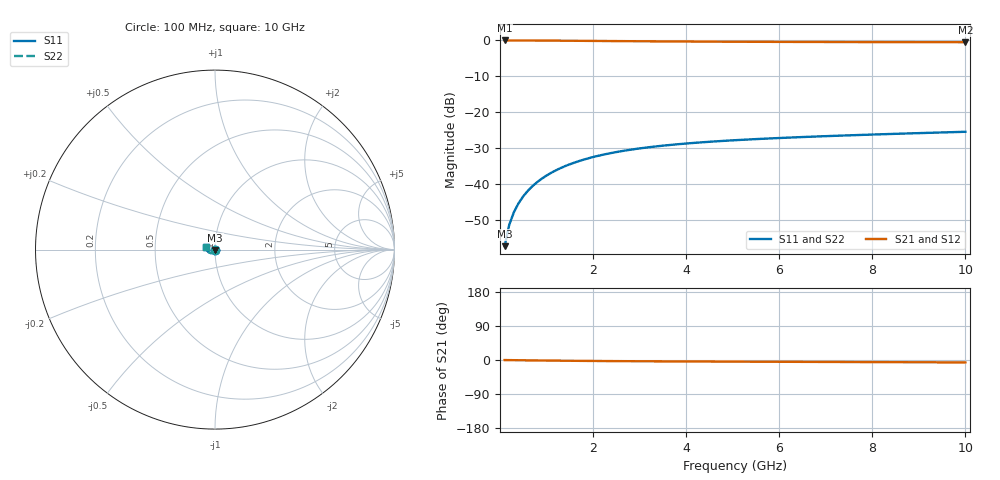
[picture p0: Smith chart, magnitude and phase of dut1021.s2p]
! Touchstone file exported from HFSS 2024.1.0
!  File:  C:/UserFiles/LocalFiles/RDL_TSV_Batchsim/temp_TSV1_1021_1780059798.aedt
!  Generated:  09:08:35 PM May 29, 2026
!  Design:  TSV1
!  Project:  temp_TSV1_1021_1780059798
!  Setup:  Setup1
!  Solution:  Sweep
! Variables:
!  dtsv = 9.68um
!  hbump = 3um
!  htsv = 99.26um
!  lrdl = 252.1521522um
!  p = 40
!  p1 = 58.73um
!  t = 500um
!  trdl = 3um
!  wrdl = 24.89489489um
# GHz S MA R 50.000000
! Terminal data exported
! Port[1] = TSV22_T1
! Port[2] = TSV22_T2
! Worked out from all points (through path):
!   100 points, 100 MHz to 10 GHz, reference 50 ohm
!   highest |S21| = 0.00 dB at 100 MHz (marker M1); lowest = -0.5 dB at 10 GHz (marker M2)
!   lowest |S11| = -57.3 dB at 100 MHz (marker M3), VSWR 1.00, Z = 50 - j0.137 ohm
!   |S11| at or under -10 dB: start of sweep to end of sweep
!   |S22| runs from -57.3 to -25.4 dB; largest |S21 - S12| = 1.1e-14
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0.1  0.001371 -84.7  0.9998 -0.2  0.9998 -0.2  0.001371 -84.7
! Gamma 0 0 0 0
! Port Impedance 50 0 50 0
0.2  0.002725 -90.3  0.9996 -0.3  0.9996 -0.3  0.002725 -90.3
0.3  0.00408 -93.6  0.9993 -0.5  0.9993 -0.5  0.00408 -93.6
0.4  0.005429 -96.2  0.999 -0.6  0.999 -0.6  0.005429 -96.2
0.5  0.006768 -98.7  0.9985 -0.8  0.9985 -0.8  0.006768 -98.7
0.6  0.008091 -101.0  0.998 -0.9  0.998 -0.9  0.008091 -101.0
0.7  0.009397 -103.2  0.9974 -1.0  0.9974 -1.0  0.009397 -103.2
0.8  0.01068 -105.4  0.9967 -1.2  0.9967 -1.2  0.01068 -105.4
0.9  0.01194 -107.5  0.9959 -1.3  0.9959 -1.3  0.01194 -107.5
1.1  0.01438 -111.6  0.9943 -1.6  0.9943 -1.6  0.01438 -111.6
1.4  0.01782 -117.4  0.9914 -1.9  0.9914 -1.9  0.01782 -117.4
1.6  0.01995 -121.1  0.9893 -2.2  0.9893 -2.2  0.01995 -121.1
1.8  0.02195 -124.6  0.9871 -2.4  0.9871 -2.4  0.02195 -124.6
2.1  0.02471 -129.7  0.9839 -2.6  0.9839 -2.6  0.02471 -129.7
2.5  0.02797 -136.0  0.9796 -3.0  0.9796 -3.0  0.02797 -136.0
2.9  0.03078 -141.7  0.9755 -3.2  0.9755 -3.2  0.03078 -141.7
3.4  0.03378 -148.2  0.9709 -3.5  0.9709 -3.5  0.03378 -148.2
4.2  0.03765 -157.2  0.9647 -3.9  0.9647 -3.9  0.03765 -157.2
5.1  0.04107 -165.9  0.9593 -4.3  0.9593 -4.3  0.04107 -165.9
6.7  0.04579 -178.6  0.9526 -5.0  0.9526 -5.0  0.04579 -178.6
8.4  0.04994 170.7  0.948 -5.7  0.948 -5.7  0.04994 170.7
10  0.05356 162.2  0.945 -6.4  0.945 -6.4  0.05357 162.2
